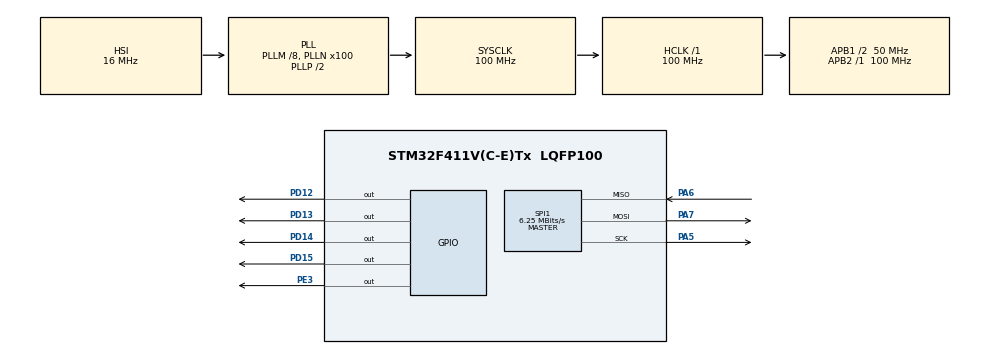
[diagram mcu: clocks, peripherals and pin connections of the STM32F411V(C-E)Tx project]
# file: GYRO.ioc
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Mcu.Family=STM32F4
Mcu.Name=STM32F411V(C-E)Tx
Mcu.Package=LQFP100
NVIC.PriorityGroup=NVIC_PRIORITYGROUP_4
PA13.Mode=Serial_Wire
PA13.Signal=SYS_JTMS-SWDIO
PA14.Mode=Serial_Wire
PA14.Signal=SYS_JTCK-SWCLK
PA5.Mode=Full_Duplex_Master
PA5.Signal=SPI1_SCK
PA6.Mode=Full_Duplex_Master
PA6.Signal=SPI1_MISO
PA7.Mode=Full_Duplex_Master
PA7.Signal=SPI1_MOSI
PD12.Signal=GPIO_Output
PD13.Signal=GPIO_Output
PD14.Signal=GPIO_Output
PD15.Signal=GPIO_Output
PE3.PinState=GPIO_PIN_SET
PE3.Signal=GPIO_Output
PH0\ -\ OSC_IN.Mode=HSE-External-Oscillator
PH0\ -\ OSC_IN.Signal=RCC_OSC_IN
PH1\ -\ OSC_OUT.Mode=HSE-External-Oscillator
PH1\ -\ OSC_OUT.Signal=RCC_OSC_OUT
ProjectManager.HeapSize=0x200
ProjectManager.StackSize=0x400
ProjectManager.TargetToolchain=MDK-ARM V5.32
RCC.48MHZClocksFreq_Value=50000000
RCC.AHBFreq_Value=100000000
RCC.APB1CLKDivider=RCC_HCLK_DIV2
RCC.APB1Freq_Value=50000000
RCC.APB1TimFreq_Value=100000000
RCC.APB2Freq_Value=100000000
RCC.APB2TimFreq_Value=100000000
RCC.CortexFreq_Value=100000000
RCC.HCLKFreq_Value=100000000
RCC.HSE_VALUE=25000000
RCC.HSI_VALUE=16000000
RCC.LSE_VALUE=32768
RCC.PLLM=8
RCC.PLLN=100
RCC.SYSCLKFreq_VALUE=100000000
RCC.SYSCLKSource=RCC_SYSCLKSOURCE_PLLCLK
RCC.VCOOutputFreq_Value=200000000
SPI1.BaudRatePrescaler=SPI_BAUDRATEPRESCALER_16
SPI1.CalculateBaudRate=6.25 MBits/s
SPI1.Direction=SPI_DIRECTION_2LINES
SPI1.Mode=SPI_MODE_MASTER
SPI1.VirtualType=VM_MASTER
board=custom

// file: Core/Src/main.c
/* USER CODE BEGIN Header */
/**
  ******************************************************************************
  * @file           : main.c
  * @brief          : Main program body
  ******************************************************************************
  * @attention
  *
  * Copyright (c) 2024 STMicroelectronics.
  * All rights reserved.
  *
  * This software is licensed under terms that can be found in the LICENSE file
  * in the root directory of this software component.
  * If no LICENSE file comes with this software, it is provided AS-IS.
  *
  ******************************************************************************
  */
/* USER CODE END Header */
#include "main.h"
#include "spi.h"
#include "gpio.h"

/* USER CODE BEGIN Includes */
#include "L3GD20.h"
/* USER CODE END Includes */

/* USER CODE BEGIN PV */
void SPI_Transmit(uint8_t *data, size_t length);
void SPI_TransmitReceive(uint8_t *txData, uint8_t *rxData, size_t length);
/* USER CODE END PV */

void SystemClock_Config(void);
/* USER CODE BEGIN PFP */
    L3GD20_RawData_t rawData;
    L3GD20_AngleRate_t angleRate;
/* USER CODE END PFP */

/* USER CODE BEGIN 0 */

void SPI_Transmit(uint8_t *data, size_t length) {
    HAL_GPIO_WritePin(GPIOE, GPIO_PIN_3, GPIO_PIN_RESET);

    HAL_SPI_Transmit(&hspi1, data, length, HAL_MAX_DELAY);

    HAL_GPIO_WritePin(GPIOE, GPIO_PIN_3, GPIO_PIN_SET);
}

void SPI_TransmitReceive(uint8_t *txData, uint8_t *rxData, size_t length) {
    HAL_GPIO_WritePin(GPIOE, GPIO_PIN_3, GPIO_PIN_RESET);

    HAL_SPI_TransmitReceive(&hspi1, txData, rxData, length, HAL_MAX_DELAY);
    HAL_GPIO_WritePin(GPIOE, GPIO_PIN_3, GPIO_PIN_SET);
}

/* USER CODE END 0 */

int main(void)
{

  /* MCU Configuration--------------------------------------------------------*/

  /* Reset of all peripherals, Initializes the Flash interface and the Systick. */
  HAL_Init();

  /* Configure the system clock */
  SystemClock_Config();

  /* Initialize all configured peripherals */
  MX_GPIO_Init();
  MX_SPI1_Init();
  /* USER CODE BEGIN 2 */
	    L3GD20_Init();

  /* USER CODE END 2 */

  /* Infinite loop */
  while (1)
  {

    /* USER CODE BEGIN 3 */
		L3GD20_ReadRawData(&rawData);
		L3GD20_CalculateAngleRate(&rawData, &angleRate);
		//printf("Angle Rate: X=%f Y=%f Z=%f\n", angleRate.x, angleRate.y, angleRate.z);
		HAL_Delay(10);
  }
  /* USER CODE END 3 */
}

void SystemClock_Config(void)
{
  RCC_OscInitTypeDef RCC_OscInitStruct = {0};
  RCC_ClkInitTypeDef RCC_ClkInitStruct = {0};

  /** Configure the main internal regulator output voltage
  */
  __HAL_RCC_PWR_CLK_ENABLE();
  __HAL_PWR_VOLTAGESCALING_CONFIG(PWR_REGULATOR_VOLTAGE_SCALE1);

  /** Initializes the RCC Oscillators according to the specified parameters
  * in the RCC_OscInitTypeDef structure.
  */
  RCC_OscInitStruct.OscillatorType = RCC_OSCILLATORTYPE_HSI;
  RCC_OscInitStruct.HSIState = RCC_HSI_ON;
  RCC_OscInitStruct.HSICalibrationValue = RCC_HSICALIBRATION_DEFAULT;
  RCC_OscInitStruct.PLL.PLLState = RCC_PLL_ON;
  RCC_OscInitStruct.PLL.PLLSource = RCC_PLLSOURCE_HSI;
  RCC_OscInitStruct.PLL.PLLM = 8;
  RCC_OscInitStruct.PLL.PLLN = 100;
  RCC_OscInitStruct.PLL.PLLP = RCC_PLLP_DIV2;
  RCC_OscInitStruct.PLL.PLLQ = 4;
  if (HAL_RCC_OscConfig(&RCC_OscInitStruct) != HAL_OK)
  {
    Error_Handler();
  }

  /** Initializes the CPU, AHB and APB buses clocks
  */
  RCC_ClkInitStruct.ClockType = RCC_CLOCKTYPE_HCLK|RCC_CLOCKTYPE_SYSCLK
                              |RCC_CLOCKTYPE_PCLK1|RCC_CLOCKTYPE_PCLK2;
  RCC_ClkInitStruct.SYSCLKSource = RCC_SYSCLKSOURCE_PLLCLK;
  RCC_ClkInitStruct.AHBCLKDivider = RCC_SYSCLK_DIV1;
  RCC_ClkInitStruct.APB1CLKDivider = RCC_HCLK_DIV2;
  RCC_ClkInitStruct.APB2CLKDivider = RCC_HCLK_DIV1;

  if (HAL_RCC_ClockConfig(&RCC_ClkInitStruct, FLASH_LATENCY_3) != HAL_OK)
  {
    Error_Handler();
  }
}

void Error_Handler(void)
{
  __disable_irq();
  while (1)
  {
  }
}
